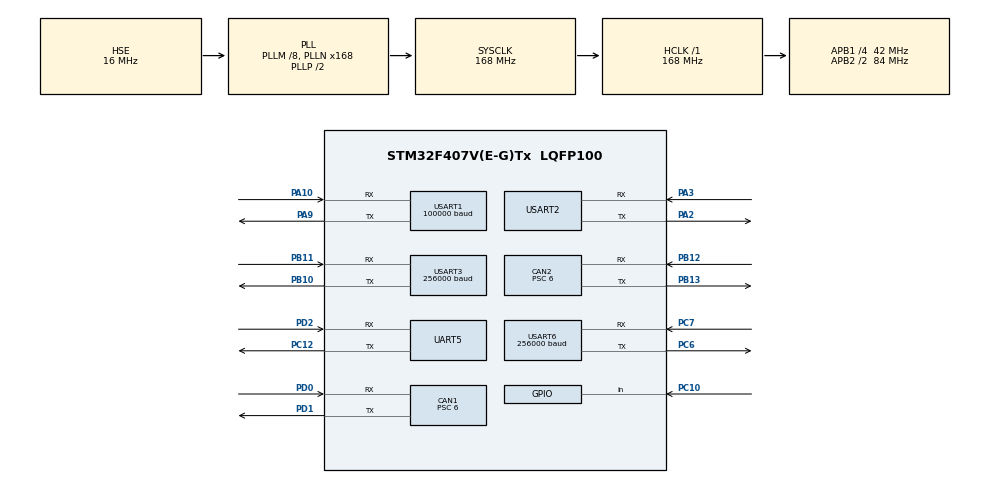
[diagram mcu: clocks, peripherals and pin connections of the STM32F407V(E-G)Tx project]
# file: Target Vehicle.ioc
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CAN1.ABOM=DISABLE
CAN1.BS1=CAN_BS1_3TQ
CAN1.BS2=CAN_BS2_3TQ
CAN1.CalculateBaudRate=1000000
CAN1.CalculateTimeBit=1000
CAN1.CalculateTimeQuantum=142.85714285714286
CAN1.Prescaler=6
CAN2.BS1=CAN_BS1_3TQ
CAN2.BS2=CAN_BS2_3TQ
CAN2.CalculateBaudRate=1000000
CAN2.CalculateTimeBit=1000
CAN2.CalculateTimeQuantum=142.85714285714286
CAN2.Prescaler=6
Dma.Request0=USART2_RX
Dma.Request1=USART2_TX
Dma.Request2=USART1_RX
Dma.Request3=USART1_TX
Dma.USART1_RX.2.Direction=DMA_PERIPH_TO_MEMORY
Dma.USART1_RX.2.FIFOMode=DMA_FIFOMODE_DISABLE
Dma.USART1_RX.2.Instance=DMA2_Stream2
Dma.USART1_RX.2.MemDataAlignment=DMA_MDATAALIGN_BYTE
Dma.USART1_RX.2.MemInc=DMA_MINC_ENABLE
Dma.USART1_RX.2.Mode=DMA_NORMAL
Dma.USART1_RX.2.PeriphDataAlignment=DMA_PDATAALIGN_BYTE
Dma.USART1_RX.2.PeriphInc=DMA_PINC_DISABLE
Dma.USART1_RX.2.Priority=DMA_PRIORITY_LOW
Dma.USART1_TX.3.Direction=DMA_MEMORY_TO_PERIPH
Dma.USART1_TX.3.FIFOMode=DMA_FIFOMODE_DISABLE
Dma.USART1_TX.3.Instance=DMA2_Stream7
Dma.USART1_TX.3.MemDataAlignment=DMA_MDATAALIGN_BYTE
Dma.USART1_TX.3.MemInc=DMA_MINC_ENABLE
Dma.USART1_TX.3.Mode=DMA_NORMAL
Dma.USART1_TX.3.PeriphDataAlignment=DMA_PDATAALIGN_BYTE
Dma.USART1_TX.3.PeriphInc=DMA_PINC_DISABLE
Dma.USART1_TX.3.Priority=DMA_PRIORITY_LOW
Dma.USART2_RX.0.Direction=DMA_PERIPH_TO_MEMORY
Dma.USART2_RX.0.FIFOMode=DMA_FIFOMODE_DISABLE
Dma.USART2_RX.0.Instance=DMA1_Stream5
Dma.USART2_RX.0.MemDataAlignment=DMA_MDATAALIGN_BYTE
Dma.USART2_RX.0.MemInc=DMA_MINC_ENABLE
Dma.USART2_RX.0.Mode=DMA_NORMAL
Dma.USART2_RX.0.PeriphDataAlignment=DMA_PDATAALIGN_BYTE
Dma.USART2_RX.0.PeriphInc=DMA_PINC_DISABLE
Dma.USART2_RX.0.Priority=DMA_PRIORITY_LOW
Dma.USART2_TX.1.Direction=DMA_MEMORY_TO_PERIPH
Dma.USART2_TX.1.FIFOMode=DMA_FIFOMODE_DISABLE
Dma.USART2_TX.1.Instance=DMA1_Stream6
Dma.USART2_TX.1.MemDataAlignment=DMA_MDATAALIGN_BYTE
Dma.USART2_TX.1.MemInc=DMA_MINC_ENABLE
Dma.USART2_TX.1.Mode=DMA_NORMAL
Dma.USART2_TX.1.PeriphDataAlignment=DMA_PDATAALIGN_BYTE
Dma.USART2_TX.1.PeriphInc=DMA_PINC_DISABLE
Dma.USART2_TX.1.Priority=DMA_PRIORITY_LOW
FREERTOS.INCLUDE_vTaskDelayUntil=1
FREERTOS.Tasks01=defaultTask,0,128,StartDefaultTask,Default,NULL,Dynamic,NULL,NULL
Mcu.Family=STM32F4
Mcu.Name=STM32F407V(E-G)Tx
Mcu.Package=LQFP100
NVIC.CAN1_RX0_IRQn=true\:5\:0\:false\:false\:true\:true\:true\:true\:true
NVIC.CAN1_RX1_IRQn=true\:5\:0\:false\:false\:true\:true\:true\:true\:true
NVIC.CAN1_SCE_IRQn=true\:5\:0\:false\:false\:true\:true\:true\:true\:true
NVIC.CAN1_TX_IRQn=true\:5\:0\:false\:false\:true\:true\:true\:true\:true
NVIC.DMA1_Stream5_IRQn=true\:5\:0\:false\:false\:true\:true\:false\:true\:true
NVIC.DMA1_Stream6_IRQn=true\:5\:0\:false\:false\:true\:true\:false\:true\:true
NVIC.DMA2_Stream2_IRQn=true\:5\:0\:false\:false\:true\:true\:false\:true\:true
NVIC.DMA2_Stream7_IRQn=true\:5\:0\:false\:false\:true\:true\:false\:true\:true
NVIC.PriorityGroup=NVIC_PRIORITYGROUP_4
NVIC.TIM1_UP_TIM10_IRQn=true\:15\:0\:false\:false\:true\:false\:false\:true\:true
NVIC.TimeBase=TIM1_UP_TIM10_IRQn
NVIC.TimeBaseIP=TIM10
NVIC.USART1_IRQn=true\:5\:0\:false\:false\:true\:true\:true\:true\:true
NVIC.USART2_IRQn=true\:5\:0\:false\:false\:true\:true\:true\:true\:true
PA10.Mode=Asynchronous
PA10.Signal=USART1_RX
PA13.Mode=Serial_Wire
PA13.Signal=SYS_JTMS-SWDIO
PA14.Mode=Serial_Wire
PA14.Signal=SYS_JTCK-SWCLK
PA2.Mode=Asynchronous
PA2.Signal=USART2_TX
PA3.Mode=Asynchronous
PA3.Signal=USART2_RX
PA9.Mode=Asynchronous
PA9.Signal=USART1_TX
PB10.Mode=Asynchronous
PB10.Signal=USART3_TX
PB11.Mode=Asynchronous
PB11.Signal=USART3_RX
PB12.Mode=CAN_Activate
PB12.Signal=CAN2_RX
PB13.Mode=CAN_Activate
PB13.Signal=CAN2_TX
PC10.GPIO_PuPd=GPIO_PULLUP
PC10.Signal=GPIO_Input
PC12.Mode=Asynchronous
PC12.Signal=UART5_TX
PC14-OSC32_IN.Mode=LSE-External-Oscillator
PC14-OSC32_IN.Signal=RCC_OSC32_IN
PC15-OSC32_OUT.Mode=LSE-External-Oscillator
PC15-OSC32_OUT.Signal=RCC_OSC32_OUT
PC6.Mode=Asynchronous
PC6.Signal=USART6_TX
PC7.Mode=Asynchronous
PC7.Signal=USART6_RX
PD0.Mode=CAN_Activate
PD0.Signal=CAN1_RX
PD1.Mode=CAN_Activate
PD1.Signal=CAN1_TX
PD2.Mode=Asynchronous
PD2.Signal=UART5_RX
PH0-OSC_IN.Mode=HSE-External-Oscillator
PH0-OSC_IN.Signal=RCC_OSC_IN
PH1-OSC_OUT.Mode=HSE-External-Oscillator
PH1-OSC_OUT.Signal=RCC_OSC_OUT
ProjectManager.HeapSize=0x200
ProjectManager.StackSize=0x400
ProjectManager.TargetToolchain=MDK-ARM V5.32
RCC.48MHZClocksFreq_Value=84000000
RCC.AHBFreq_Value=168000000
RCC.APB1CLKDivider=RCC_HCLK_DIV4
RCC.APB1Freq_Value=42000000
RCC.APB1TimFreq_Value=84000000
RCC.APB2CLKDivider=RCC_HCLK_DIV2
RCC.APB2Freq_Value=84000000
RCC.APB2TimFreq_Value=168000000
RCC.CortexFreq_Value=168000000
RCC.HCLKFreq_Value=168000000
RCC.HSE_VALUE=16000000
RCC.HSI_VALUE=16000000
RCC.PLLM=8
RCC.PLLN=168
RCC.PLLSourceVirtual=RCC_PLLSOURCE_HSE
RCC.SYSCLKFreq_VALUE=168000000
RCC.SYSCLKSource=RCC_SYSCLKSOURCE_PLLCLK
RCC.VCOOutputFreq_Value=336000000
UART5.VirtualMode=Asynchronous
USART1.BaudRate=100000
USART1.VirtualMode=VM_ASYNC
USART1.WordLength=WORDLENGTH_9B
USART2.VirtualMode=VM_ASYNC
USART3.BaudRate=256000
USART3.VirtualMode=VM_ASYNC
USART6.BaudRate=256000
USART6.VirtualMode=VM_ASYNC
VP_FREERTOS_VS_CMSIS_V1.Mode=CMSIS_V1
VP_SYS_VS_tim10.Mode=TIM10
board=custom

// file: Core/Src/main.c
/* USER CODE BEGIN Header */
/**
  ******************************************************************************
  * @file           : main.c
  * @brief          : Main program body
  ******************************************************************************
  * @attention
  *
  * Copyright (c) 2024 STMicroelectronics.
  * All rights reserved.
  *
  * This software is licensed under terms that can be found in the LICENSE file
  * in the root directory of this software component.
  * If no LICENSE file comes with this software, it is provided AS-IS.
  *
  ******************************************************************************
  */
/* USER CODE END Header */
#include "main.h"
#include "cmsis_os.h"
#include "can.h"
#include "dma.h"
#include "usart.h"
#include "gpio.h"

/* USER CODE BEGIN Includes */
#include "usart_comm.h"
#include "can_comm.h"
#include "bsp_dwt.h"

/* USER CODE END Includes */

void SystemClock_Config(void);
void MX_FREERTOS_Init(void);

int main(void)
{

  /* MCU Configuration--------------------------------------------------------*/

  /* Reset of all peripherals, Initializes the Flash interface and the Systick. */
  HAL_Init();

  /* Configure the system clock */
  SystemClock_Config();

  /* Initialize all configured peripherals */
  MX_GPIO_Init();
  MX_DMA_Init();
  MX_CAN1_Init();
  MX_CAN2_Init();
  MX_UART5_Init();
  MX_USART1_UART_Init();
  MX_USART3_UART_Init();
  MX_USART6_UART_Init();
  MX_USART2_UART_Init();
  /* USER CODE BEGIN 2 */
   USER_UART_Init();
   can_device_init();
   DWT_Init(168);
   HAL_Delay(500);

  /* USER CODE END 2 */

  /* Call init function for freertos objects (in cmsis_os2.c) */
  MX_FREERTOS_Init();

  /* Start scheduler */
  osKernelStart();

  /* We should never get here as control is now taken by the scheduler */

  /* Infinite loop */
  while (1)
  {

  }
}

void SystemClock_Config(void)
{
  RCC_OscInitTypeDef RCC_OscInitStruct = {0};
  RCC_ClkInitTypeDef RCC_ClkInitStruct = {0};

  /** Configure the main internal regulator output voltage
  */
  __HAL_RCC_PWR_CLK_ENABLE();
  __HAL_PWR_VOLTAGESCALING_CONFIG(PWR_REGULATOR_VOLTAGE_SCALE1);

  /** Initializes the RCC Oscillators according to the specified parameters
  * in the RCC_OscInitTypeDef structure.
  */
  RCC_OscInitStruct.OscillatorType = RCC_OSCILLATORTYPE_HSE;
  RCC_OscInitStruct.HSEState = RCC_HSE_ON;
  RCC_OscInitStruct.PLL.PLLState = RCC_PLL_ON;
  RCC_OscInitStruct.PLL.PLLSource = RCC_PLLSOURCE_HSE;
  RCC_OscInitStruct.PLL.PLLM = 8;
  RCC_OscInitStruct.PLL.PLLN = 168;
  RCC_OscInitStruct.PLL.PLLP = RCC_PLLP_DIV2;
  RCC_OscInitStruct.PLL.PLLQ = 4;
  if (HAL_RCC_OscConfig(&RCC_OscInitStruct) != HAL_OK)
  {
    Error_Handler();
  }

  /** Initializes the CPU, AHB and APB buses clocks
  */
  RCC_ClkInitStruct.ClockType = RCC_CLOCKTYPE_HCLK|RCC_CLOCKTYPE_SYSCLK
                              |RCC_CLOCKTYPE_PCLK1|RCC_CLOCKTYPE_PCLK2;
  RCC_ClkInitStruct.SYSCLKSource = RCC_SYSCLKSOURCE_PLLCLK;
  RCC_ClkInitStruct.AHBCLKDivider = RCC_SYSCLK_DIV1;
  RCC_ClkInitStruct.APB1CLKDivider = RCC_HCLK_DIV4;
  RCC_ClkInitStruct.APB2CLKDivider = RCC_HCLK_DIV2;

  if (HAL_RCC_ClockConfig(&RCC_ClkInitStruct, FLASH_LATENCY_5) != HAL_OK)
  {
    Error_Handler();
  }
}

void HAL_TIM_PeriodElapsedCallback(TIM_HandleTypeDef *htim)
{
  if (htim->Instance == TIM10) {
    HAL_IncTick();
  }
}

void Error_Handler(void)
{
  __disable_irq();
  while (1)
  {
  }
}

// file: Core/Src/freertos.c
/* USER CODE BEGIN Header */
/**
  ******************************************************************************
  * File Name          : freertos.c
  * Description        : Code for freertos applications
  ******************************************************************************
  * @attention
  *
  * Copyright (c) 2024 STMicroelectronics.
  * All rights reserved.
  *
  * This software is licensed under terms that can be found in the LICENSE file
  * in the root directory of this software component.
  * If no LICENSE file comes with this software, it is provided AS-IS.
  *
  ******************************************************************************
  */
/* USER CODE END Header */

#include "FreeRTOS.h"
#include "task.h"
#include "main.h"
#include "cmsis_os.h"

/* USER CODE BEGIN Includes */
#include "stm32f4xx_hal.h"
#include "chassis_task.h"
#include "modeswitch_task.h"
#include "bsp_motor.h"
#include "string.h"
#include "can_comm.h"
#include "gimbal_task.h"
#include "debug_task.h"

/* USER CODE END Includes */

/* USER CODE BEGIN Variables */
osThreadId chassis_task_t;
osThreadId gimbal_task_t;
osThreadId can_comm_task_t;
osThreadId mode_sw_task_t;
osThreadId debug_task_t;
/* USER CODE END Variables */
osThreadId defaultTaskHandle;

void StartDefaultTask(void const * argument);

void MX_FREERTOS_Init(void); /* (MISRA C 2004 rule 8.1) */

/* GetIdleTaskMemory prototype (linked to static allocation support) */
void vApplicationGetIdleTaskMemory( StaticTask_t **ppxIdleTaskTCBBuffer, StackType_t **ppxIdleTaskStackBuffer, uint32_t *pulIdleTaskStackSize );

/* USER CODE BEGIN GET_IDLE_TASK_MEMORY */
static StaticTask_t xIdleTaskTCBBuffer;
static StackType_t xIdleStack[configMINIMAL_STACK_SIZE];

void vApplicationGetIdleTaskMemory( StaticTask_t **ppxIdleTaskTCBBuffer, StackType_t **ppxIdleTaskStackBuffer, uint32_t *pulIdleTaskStackSize )
{
  *ppxIdleTaskTCBBuffer = &xIdleTaskTCBBuffer;
  *ppxIdleTaskStackBuffer = &xIdleStack[0];
  *pulIdleTaskStackSize = configMINIMAL_STACK_SIZE;
  /* place for user code */
}
/* USER CODE END GET_IDLE_TASK_MEMORY */

void MX_FREERTOS_Init(void) {

  /* Create the thread(s) */
  /* definition and creation of defaultTask */
  osThreadDef(defaultTask, StartDefaultTask, osPriorityNormal, 0, 128);
  defaultTaskHandle = osThreadCreate(osThread(defaultTask), NULL);

  /* USER CODE BEGIN RTOS_THREADS */
  /* add threads, ... */
  osThreadDef(can_comm_Task,can_comm_task,osPriorityHigh,0,512);
  can_comm_task_t = osThreadCreate(osThread(can_comm_Task),NULL);
//
  osThreadDef(chassisTask,chassis_task,osPriorityAboveNormal,0,512);
  chassis_task_t = osThreadCreate(osThread(chassisTask),NULL);

  osThreadDef(gimbalTask,gimbal_task,osPriorityAboveNormal,0,512);
  gimbal_task_t = osThreadCreate(osThread(gimbalTask),NULL);

  osThreadDef(modeswTask, mode_switch_task, osPriorityAboveNormal, 0, 512);
  mode_sw_task_t = osThreadCreate(osThread(modeswTask),NULL);

  osThreadDef(debugTask, debug_task, osPriorityAboveNormal, 0, 512);
  debug_task_t = osThreadCreate(osThread(debugTask),NULL);
  /* USER CODE END RTOS_THREADS */

}

void StartDefaultTask(void const * argument)
{
  for(;;)
  {
    osDelay(1);
  }
}
